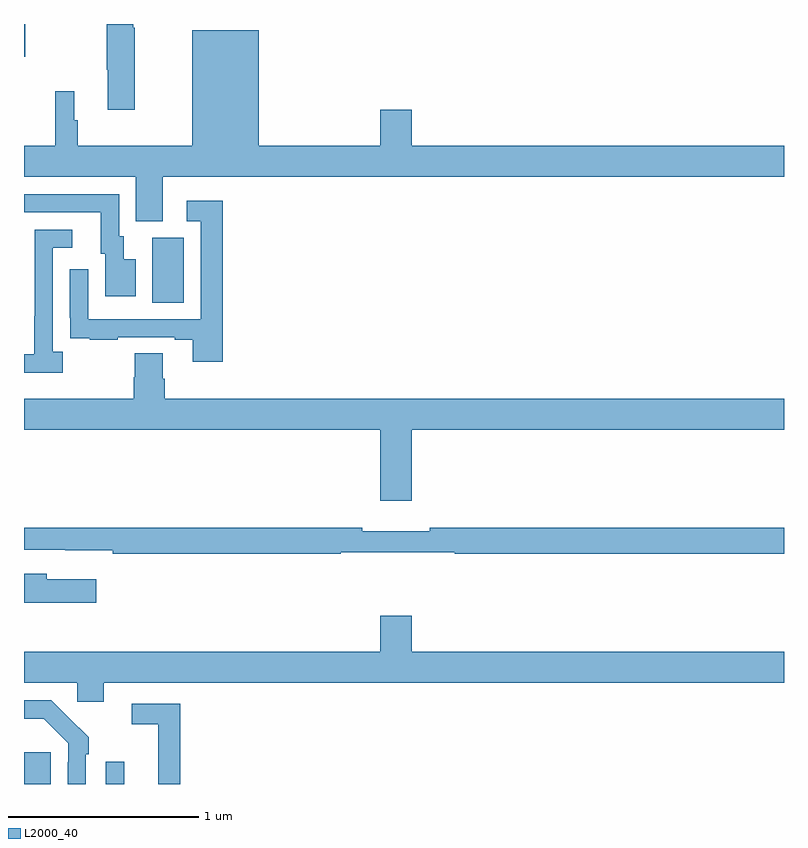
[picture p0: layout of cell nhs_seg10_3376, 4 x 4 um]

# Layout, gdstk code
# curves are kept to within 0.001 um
import gdstk
lib = gdstk.Library(unit=1e-6, precision=1e-09)
def R(c, l, rs):  # rectangles x0, y0, x1, y1
    for r in rs: c.add(gdstk.rectangle(r[:2], r[2:], *l))
def P(c, l, *ps):  # polygons
    for p in ps: c.add(gdstk.Polygon(p, *l))
L2000_40 = (2000, 40)

nhs_seg10_3376 = lib.new_cell('nhs_seg10_3376')
R(nhs_seg10_3376, L2000_40, [(295,1250.5,295.141,1250.668), (295.431,1250.5,295.527,1250.617), (295.676,1253.032,295.84,1253.376), (295,1254.327,295.006,1254.5)])
P(nhs_seg10_3376, L2000_40, [(295.584,1254.479),(295.576,1254.479),(295.576,1254.5),(295.435,1254.5),(295.435,1254.26),(295.442,1254.26),(295.442,1254.048),(295.584,1254.048)],
  [(295.729,1253.696),(299,1253.696),(299,1253.86),(297.04,1253.86),(297.04,1254.049),(296.876,1254.049),(296.876,1253.86),(296.236,1253.86),(296.236,1254.466),(295.886,1254.466),(295.886,1253.86),(295.283,1253.86),(295.283,1253.994),(295.264,1253.994),(295.264,1254.145),(295.165,1254.145),(295.165,1253.86),(295,1253.86),(295,1253.696),(295.589,1253.696),(295.589,1253.461),(295.729,1253.461)],
  [(295.588,1253.263),(295.525,1253.263),(295.525,1253.382),(295.5,1253.382),(295.5,1253.604),(295,1253.604),(295,1253.508),(295.403,1253.508),(295.403,1253.292),(295.427,1253.292),(295.427,1253.067),(295.588,1253.067)],
  [(296.045,1253.569),(295.857,1253.569),(295.857,1253.463),(295.929,1253.463),(295.929,1252.947),(295.338,1252.947),(295.338,1253.209),(295.242,1253.209),(295.242,1252.954),(295.243,1252.954),(295.243,1252.845),(295.345,1252.845),(295.345,1252.839),(295.493,1252.839),(295.493,1252.851),(295.793,1252.851),(295.793,1252.839),(295.889,1252.839),(295.889,1252.722),(296.045,1252.722)],
  [(295.204,1252.774),(295.152,1252.774),(295.152,1253.322),(295.255,1253.322),(295.255,1253.418),(295.056,1253.418),(295.056,1252.961),(295.055,1252.961),(295.055,1252.761),(295,1252.761),(295,1252.664),(295.204,1252.664)],
  [(297.04,1252.364),(299,1252.364),(299,1252.528),(295.742,1252.528),(295.742,1252.634),(295.729,1252.634),(295.729,1252.766),(295.582,1252.766),(295.582,1252.641),(295.577,1252.641),(295.577,1252.528),(295,1252.528),(295,1252.364),(296.876,1252.364),(296.876,1251.99),(297.04,1251.99)],
  [(296.668,1251.72),(297.268,1251.72),(297.268,1251.712),(299,1251.712),(299,1251.848),(297.136,1251.848),(297.136,1251.829),(296.78,1251.829),(296.78,1251.848),(295,1251.848),(295,1251.732),(295.216,1251.732),(295.216,1251.731),(295.468,1251.731),(295.468,1251.712),(296.668,1251.712)],
  [(295.381,1251.577),(295.12,1251.577),(295.12,1251.606),(295,1251.606),(295,1251.455),(295.381,1251.455)],
  [(295.42,1251.032),(299,1251.032),(299,1251.196),(297.04,1251.196),(297.04,1251.385),(296.876,1251.385),(296.876,1251.196),(295,1251.196),(295,1251.032),(295.281,1251.032),(295.281,1250.934),(295.42,1250.934)],
  [(295.326,1250.657),(295.341,1250.657),(295.341,1250.745),(295.144,1250.94),(295,1250.94),(295,1250.844),(295.105,1250.844),(295.233,1250.715),(295.233,1250.615),(295.23,1250.615),(295.23,1250.5),(295.326,1250.5)],
  [(295.823,1250.922),(295.566,1250.922),(295.566,1250.814),(295.706,1250.814),(295.706,1250.5),(295.823,1250.5)])

lib.write_gds('nhs_seg10_3376.gds')
